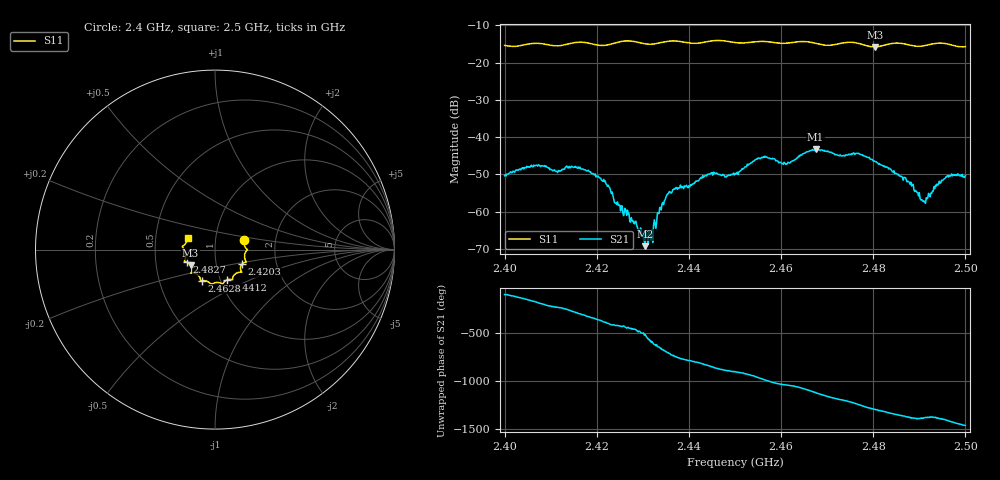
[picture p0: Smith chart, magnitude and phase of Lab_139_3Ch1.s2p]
# Hz S RI R 50
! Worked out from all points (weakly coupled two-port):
!   601 points, 2.4 GHz to 2.5 GHz, reference 50 ohm
!   highest |S21| = -43.24 dB at 2.4675 GHz (marker M1); lowest = -69.3 dB at 2.4305 GHz (marker M2)
!   lowest |S11| = -15.8 dB at 2.4803 GHz (marker M3), VSWR 1.39, Z = 37.5 - j6.76 ohm
!   |S11| at or under -10 dB: start of sweep to end of sweep
!   S12 and S22 are empty: the file has one direction only
!   S11 on the Smith chart (normalised r, x): 2.4 GHz: 1.38, +0.15; 2.4203 GHz: 1.34, -0.22; 2.4412 GHz: 1.08, -0.37; 2.4628 GHz: 0.82, -0.29; 2.4827 GHz: 0.72, -0.10; 2.5 GHz: 0.73, +0.10
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2.4e9  0.1616 0.0534  -0.000166 -0.00303  0 0  0 0
2.406833e9  0.1816 5.76e-05  -0.00414 -0.000709  0 0  0 0
2.416667e9  0.1747 -0.0695  0.00188 0.00322  0 0  0 0
2.420333e9  0.152 -0.0789  0.00299 0.000135  0 0  0 0
2.4305e9  0.1228 -0.1298  -0.000294 -0.000178  0 0  0 0
2.431667e9  0.1106 -0.1378  -0.000394 0.000261  0 0  0 0
2.433333e9  0.0998 -0.1524  0.000211 0.000944  0 0  0 0
2.4355e9  0.0979 -0.1669  0.00166 0.000489  0 0  0 0
2.441167e9  0.0687 -0.1676  0.000576 -0.00232  0 0  0 0
2.4445e9  0.0452 -0.1884  -0.0018 -0.00263  0 0  0 0
2.45e9  0.0247 -0.1843  -0.00327 7.28e-05  0 0  0 0
2.456167e9  -0.0202 -0.1914  -0.000648 0.00541  0 0  0 0
2.462833e9  -0.0719 -0.1731  0.00438 0.00214  0 0  0 0
2.466667e9  -0.0805 -0.1682  0.00583 -0.00317  0 0  0 0
2.4675e9  -0.0817 -0.162  0.005 -0.00473  0 0  0 0
2.480333e9  -0.1365 -0.0878  -0.00374 0.00287  0 0  0 0
2.482667e9  -0.1578 -0.0704  -0.00171 0.00365  0 0  0 0
2.483333e9  -0.1631 -0.0684  -0.00107 0.00358  0 0  0 0
2.488167e9  -0.1641 -0.0457  0.00162 0.00189  0 0  0 0
2.490833e9  -0.1669 -0.0104  0.000942 0.000987  0 0  0 0
2.496e9  -0.1771 0.0212  0.00261 0.00136  0 0  0 0
2.5e9  -0.1505 0.0643  0.0027 -0.0014  0 0  0 0
